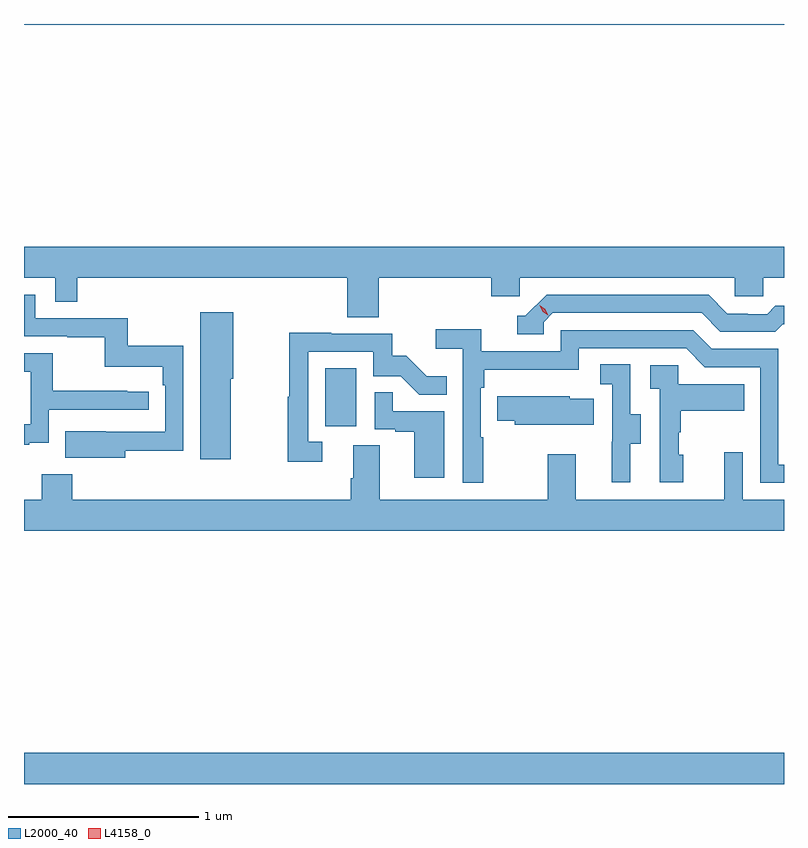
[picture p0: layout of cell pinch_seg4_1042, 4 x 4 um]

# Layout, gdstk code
import gdstk
lib = gdstk.Library(unit=1e-6, precision=1e-09)
def R(c, l, rs):  # rectangles x0, y0, x1, y1
    for r in rs: c.add(gdstk.rectangle(r[:2], r[2:], *l))
def P(c, l, *ps):  # polygons
    for p in ps: c.add(gdstk.Polygon(p, *l))
L2000_40 = (2000, 40)
L4158_0 = (4158, 0)

pinch_seg4_1042 = lib.new_cell('pinch_seg4_1042')
R(pinch_seg4_1042, L2000_40, [(888.565,759.524,892.565,759.688), (890.15,761.406,890.314,761.713), (888.565,763.52,892.565,763.524)])
P(pinch_seg4_1042, L2000_40, [(890.432,762.188),(891.023,762.188),(891.023,762.09),(891.174,762.09),(891.174,762.188),(892.305,762.188),(892.305,762.09),(892.455,762.09),(892.455,762.188),(892.565,762.188),(892.565,762.352),(888.565,762.352),(888.565,762.188),(888.729,762.188),(888.729,762.061),(888.845,762.061),(888.845,762.188),(890.267,762.188),(890.267,761.98),(890.432,761.98)],
  [(889.099,761.278),(889.404,761.278),(889.404,761.83),(889.111,761.83),(889.111,761.976),(888.624,761.976),(888.624,762.099),(888.565,762.099),(888.565,761.88),(888.793,761.88),(888.793,761.875),(888.99,761.875),(888.99,761.72),(889.295,761.72),(889.295,761.624),(889.308,761.624),(889.308,761.379),(888.995,761.379),(888.995,761.38),(888.781,761.38),(888.781,761.24),(889.099,761.24)],
  [(891.3,761.955),(891.348,762.003),(892.131,762.003),(892.23,761.904),(892.519,761.904),(892.558,761.943),(892.565,761.943),(892.565,762.04),(892.519,762.04),(892.477,761.997),(892.374,761.997),(892.374,762),(892.267,762),(892.168,762.099),(891.315,762.099),(891.204,761.988),(891.161,761.988),(891.161,761.892),(891.3,761.892)],
  [(889.654,761.658),(889.666,761.658),(889.666,762.007),(889.493,762.007),(889.493,761.232),(889.654,761.232)],
  [(890.983,761.348),(890.97,761.348),(890.97,761.609),(890.987,761.609),(890.987,761.705),(891.486,761.705),(891.486,761.817),(892.05,761.817),(892.149,761.718),(892.44,761.718),(892.44,761.109),(892.565,761.109),(892.565,761.205),(892.536,761.205),(892.536,761.814),(892.186,761.814),(892.087,761.913),(891.39,761.913),(891.39,761.802),(890.972,761.802),(890.972,761.918),(890.733,761.918),(890.733,761.816),(890.874,761.816),(890.874,761.109),(890.983,761.109)],
  [(890.134,761.325),(890.061,761.325),(890.061,761.799),(890.403,761.799),(890.403,761.67),(890.547,761.67),(890.645,761.572),(890.789,761.572),(890.789,761.671),(890.685,761.671),(890.578,761.778),(890.502,761.778),(890.502,761.895),(890.183,761.895),(890.183,761.9),(889.96,761.9),(889.96,761.562),(889.953,761.562),(889.953,761.22),(890.134,761.22)],
  [(888.593,761.321),(888.696,761.321),(888.696,761.493),(889.222,761.493),(889.222,761.589),(889.109,761.589),(889.109,761.594),(888.716,761.594),(888.716,761.79),(888.565,761.79),(888.565,761.694),(888.6,761.694),(888.6,761.418),(888.565,761.418),(888.565,761.31),(888.593,761.31)],
  [(891.757,761.314),(891.811,761.314),(891.811,761.469),(891.756,761.469),(891.756,761.732),(891.597,761.732),(891.597,761.629),(891.66,761.629),(891.66,761.325),(891.659,761.325),(891.659,761.112),(891.757,761.112)],
  [(892.036,761.256),(892.011,761.256),(892.011,761.375),(892.021,761.375),(892.021,761.489),(892.355,761.489),(892.355,761.629),(892.008,761.629),(892.008,761.727),(891.861,761.727),(891.861,761.603),(891.912,761.603),(891.912,761.112),(892.036,761.112)],
  [(890.776,761.487),(890.507,761.487),(890.507,761.585),(890.412,761.585),(890.412,761.391),(890.519,761.391),(890.519,761.379),(890.618,761.379),(890.618,761.136),(890.776,761.136)],
  [(891.563,761.551),(891.438,761.551),(891.438,761.566),(891.166,761.566),(891.166,761.565),(891.055,761.565),(891.055,761.437),(891.149,761.437),(891.149,761.414),(891.563,761.414)],
  [(892.565,761.02),(892.347,761.02),(892.347,761.269),(892.25,761.269),(892.25,761.02),(891.469,761.02),(891.469,761.26),(891.322,761.26),(891.322,761.02),(890.437,761.02),(890.437,761.306),(890.297,761.306),(890.297,761.132),(890.285,761.132),(890.285,761.02),(888.818,761.02),(888.818,761.155),(888.658,761.155),(888.658,761.02),(888.565,761.02),(888.565,760.856),(892.565,760.856)])
P(pinch_seg4_1042, L4158_0, [(891.325,761.99),(891.294,762.01),(891.279,762.042),(891.279,762.043),(891.279,762.043),(891.309,762.023),(891.325,761.99),(891.325,761.99)])

lib.write_gds('pinch_seg4_1042.gds')
